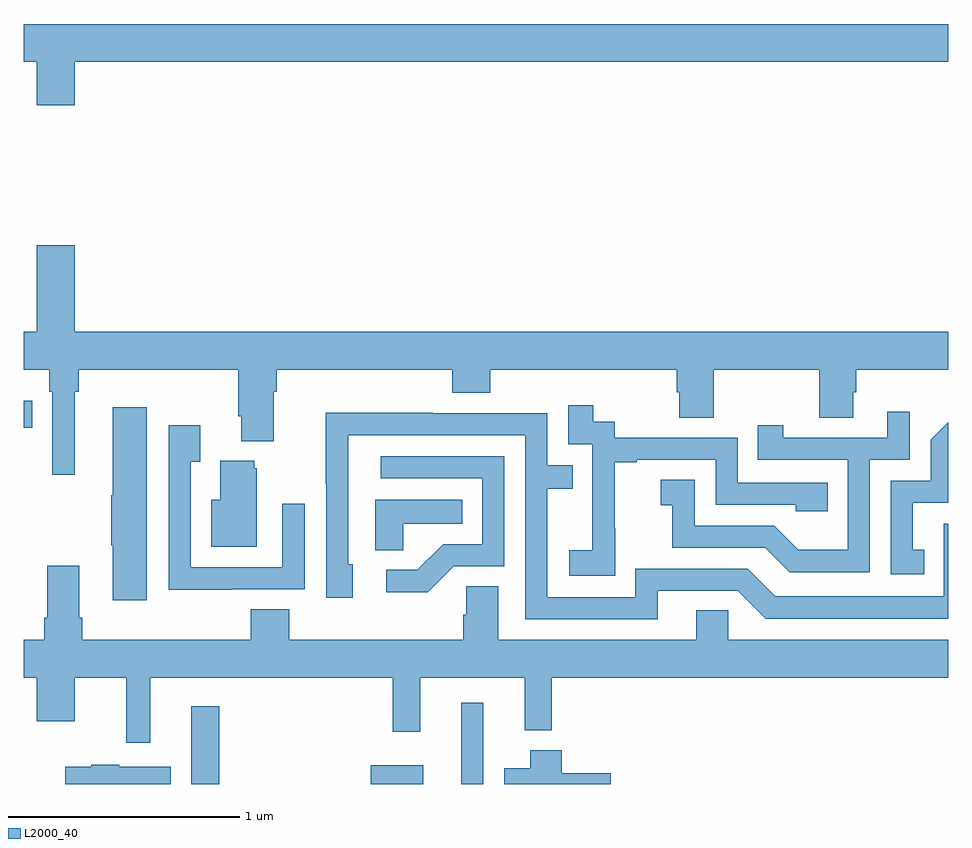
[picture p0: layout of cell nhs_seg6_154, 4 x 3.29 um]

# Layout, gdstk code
import gdstk
lib = gdstk.Library(unit=1e-6, precision=1e-09)
def R(c, l, rs):  # rectangles x0, y0, x1, y1
    for r in rs: c.add(gdstk.rectangle(r[:2], r[2:], *l))
def P(c, l, *ps):  # polygons
    for p in ps: c.add(gdstk.Polygon(p, *l))
L2000_40 = (2000, 40)

nhs_seg6_154 = lib.new_cell('nhs_seg6_154')
R(nhs_seg6_154, L2000_40, [(117.725,989.5,117.847,989.836), (118.502,989.5,118.729,989.581), (118.892,989.5,118.989,989.851), (117,991.042,117.038,991.158)])
P(nhs_seg6_154, L2000_40, [(117.22,992.624),(121,992.624),(121,992.788),(117,992.788),(117,992.624),(117.056,992.624),(117.056,992.436),(117.22,992.436)],
  [(117.22,991.196),(117.239,991.196),(117.239,991.292),(117.929,991.292),(117.929,991.09),(117.941,991.09),(117.941,990.983),(118.081,990.983),(118.081,991.196),(118.094,991.196),(118.094,991.292),(118.853,991.292),(118.853,991.193),(119.018,991.193),(119.018,991.292),(119.825,991.292),(119.825,991.194),(119.837,991.194),(119.837,991.084),(119.985,991.084),(119.985,991.292),(120.442,991.292),(120.442,991.084),(120.589,991.084),(120.589,991.194),(120.602,991.194),(120.602,991.292),(121,991.292),(121,991.456),(117.22,991.456),(117.22,991.831),(117.056,991.831),(117.056,991.456),(117,991.456),(117,991.292),(117.11,991.292),(117.11,991.196),(117.123,991.196),(117.123,990.837),(117.22,990.837)],
  [(119.559,990.607),(119.558,990.607),(119.558,990.891),(119.653,990.891),(119.653,990.903),(119.994,990.903),(119.994,990.708),(120.339,990.708),(120.339,990.681),(120.479,990.681),(120.479,990.804),(120.09,990.804),(120.09,990.999),(119.556,990.999),(119.556,991.068),(119.464,991.068),(119.464,991.138),(119.355,991.138),(119.355,990.969),(119.46,990.969),(119.46,990.74),(119.459,990.74),(119.459,990.511),(119.361,990.511),(119.361,990.401),(119.559,990.401)],
  [(117.532,991.129),(117.386,991.129),(117.386,990.749),(117.379,990.749),(117.379,990.532),(117.386,990.532),(117.386,990.294),(117.532,990.294)],
  [(120.66,990.903),(120.834,990.903),(120.834,991.111),(120.737,991.111),(120.737,990.999),(120.286,990.999),(120.286,991.051),(120.175,991.051),(120.175,990.903),(120.564,990.903),(120.564,990.514),(120.35,990.514),(120.246,990.618),(119.904,990.618),(119.904,990.817),(119.757,990.817),(119.757,990.707),(119.806,990.707),(119.806,990.522),(120.209,990.522),(120.314,990.417),(120.66,990.417)],
  [(119.743,990.336),(120.09,990.336),(120.21,990.216),(121,990.216),(121,990.627),(120.981,990.627),(120.981,990.312),(120.252,990.312),(120.132,990.432),(119.646,990.432),(119.646,990.309),(119.265,990.309),(119.265,990.778),(119.375,990.778),(119.375,990.879),(119.265,990.879),(119.265,991.104),(118.769,991.104),(118.769,991.106),(118.306,991.106),(118.306,990.799),(118.308,990.799),(118.308,990.306),(118.423,990.306),(118.423,990.45),(118.404,990.45),(118.404,991.008),(119.169,991.008),(119.169,990.213),(119.743,990.213)],
  [(120.896,990.513),(120.847,990.513),(120.847,990.717),(121,990.717),(121,991.066),(120.924,990.99),(120.924,990.813),(120.75,990.813),(120.75,990.408),(120.896,990.408)],
  [(117.899,990.342),(118.215,990.342),(118.215,990.712),(118.119,990.712),(118.119,990.438),(117.723,990.438),(117.723,990.895),(117.763,990.895),(117.763,991.051),(117.627,991.051),(117.627,990.341),(117.899,990.341)],
  [(118.86,990.441),(119.079,990.441),(119.079,990.918),(118.545,990.918),(118.545,990.822),(118.983,990.822),(118.983,990.537),(118.814,990.537),(118.703,990.426),(118.569,990.426),(118.569,990.329),(118.747,990.329)],
  [(118.009,990.867),(117.998,990.867),(117.998,990.898),(117.851,990.898),(117.851,990.73),(117.812,990.73),(117.812,990.527),(118.009,990.527)],
  [(118.641,990.626),(118.898,990.626),(118.898,990.73),(118.52,990.73),(118.52,990.511),(118.641,990.511)],
  [(117.547,989.96),(118.597,989.96),(118.597,989.727),(118.715,989.727),(118.715,989.96),(119.168,989.96),(119.168,989.732),(119.285,989.732),(119.285,989.96),(121,989.96),(121,990.124),(120.048,990.124),(120.048,990.251),(119.909,990.251),(119.909,990.124),(119.053,990.124),(119.053,990.356),(118.914,990.356),(118.914,990.233),(118.901,990.233),(118.901,990.124),(118.148,990.124),(118.148,990.257),(117.983,990.257),(117.983,990.124),(117.254,990.124),(117.254,990.22),(117.241,990.22),(117.241,990.445),(117.101,990.445),(117.101,990.22),(117.089,990.22),(117.089,990.124),(117,990.124),(117,989.96),(117.056,989.96),(117.056,989.772),(117.22,989.772),(117.22,989.96),(117.443,989.96),(117.443,989.679),(117.547,989.679)],
  [(119.539,989.547),(119.327,989.547),(119.327,989.647),(119.192,989.647),(119.192,989.569),(119.078,989.569),(119.078,989.5),(119.539,989.5)],
  [(117.637,989.575),(117.414,989.575),(117.414,989.583),(117.292,989.583),(117.292,989.575),(117.18,989.575),(117.18,989.5),(117.637,989.5)])

lib.write_gds('nhs_seg6_154.gds')
